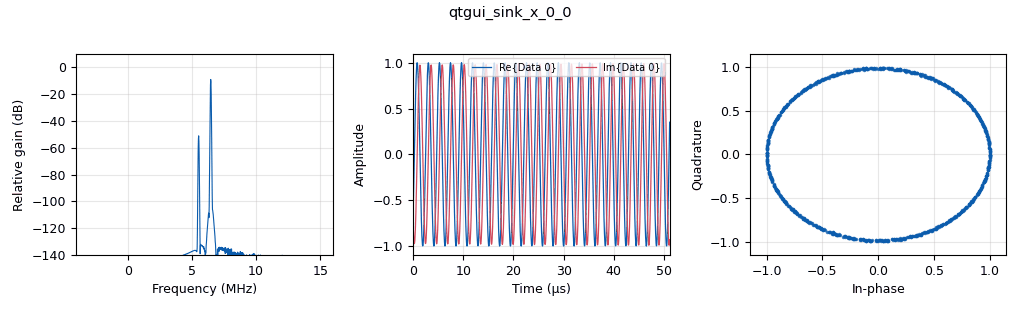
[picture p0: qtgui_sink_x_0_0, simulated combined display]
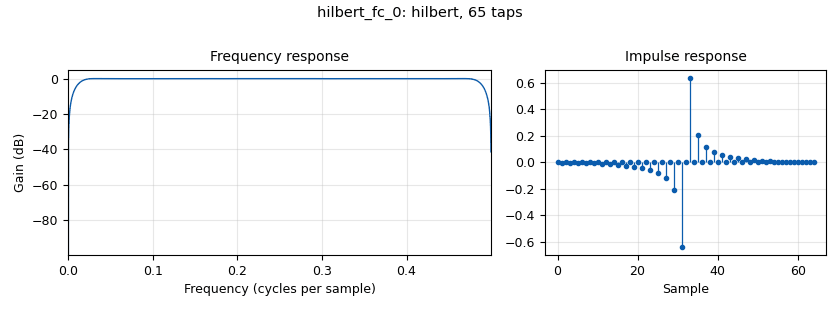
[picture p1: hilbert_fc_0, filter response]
options:
  parameters:
    category: Custom
    generate_options: qt_gui
    id: top_block
    output_language: python
  states: {}

blocks:
- name: Bandwith
  id: variable_qtgui_range
  parameters:
    orient: Qt.Horizontal
    start: 1e5
    step: '100000'
    stop: 20e6
    value: 1e5
    widget: slider
  states: {}
- name: Frequency
  id: variable_qtgui_range
  parameters:
    orient: Qt.Horizontal
    start: 433e6
    step: 1e6
    stop: 5000e6
    value: 5000e6
    widget: slider
  states: {}
- name: band
  id: variable
  parameters:
    value: '1000000'
  states: {}
- name: sample_rate
  id: variable
  parameters:
    value: int(20000000)
  states: {}
- name: analog_sig_source_x_0
  id: analog_sig_source_x
  parameters:
    amp: '1'
    freq: 1e3
    offset: '0'
    phase: '0'
    samp_rate: sample_rate
    type: float
    waveform: analog.GR_SAW_WAVE
  states: {}
- name: blocks_multiply_xx_0
  id: blocks_multiply_xx
  parameters:
    type: complex
  states: {}
- name: blocks_stream_to_vector_0
  id: blocks_stream_to_vector
  parameters:
    num_items: '100'
    type: complex
  states: {}
- name: blocks_udp_sink_0
  id: blocks_udp_sink
  parameters:
    eof: 'True'
    ipaddr: 192.168.1.64
    port: '5000'
    psize: '1024'
    type: complex
    vlen: '100'
  states: {}
- name: blocks_vco_f_0
  id: blocks_vco_f
  parameters:
    amplitude: '1'
    samp_rate: sample_rate
    sensitivity: 6.28e6
  states: {}
- name: hilbert_fc_0
  id: hilbert_fc
  parameters:
    num_taps: '65'
    win: firdes.WIN_HAMMING
  states: {}
- name: osmosdr_sink_0
  id: osmosdr_sink
  parameters:
    args: bladerf=0
    bb_gain0: '10'
    bw0: 20e6
    freq0: Frequency
    gain0: '20'
    if_gain0: '10'
    sample_rate: sample_rate
    sync: sync
    type: fc32
  states: {}
- name: osmosdr_source_0
  id: osmosdr_source
  parameters:
    args: bladerf=0
    bb_gain0: '20'
    bw0: 20e6
    freq0: Frequency
    gain0: '20'
    gain_mode0: 'True'
    if_gain0: '20'
    sample_rate: sample_rate
    sync: sync
    type: fc32
  states: {}
- name: qtgui_freq_sink_x_0
  id: qtgui_freq_sink_x
  parameters:
    bw: sample_rate
    fc: 6e6
    fftsize: '1024'
    type: complex
    wintype: firdes.WIN_BLACKMAN_hARRIS
  states: {}
- name: qtgui_sink_x_0
  id: qtgui_sink_x
  parameters:
    bw: sample_rate
    fc: 6e6
    fftsize: '1024'
    type: complex
    wintype: firdes.WIN_BLACKMAN_hARRIS
  states: {}
- name: qtgui_sink_x_0_0
  id: qtgui_sink_x
  parameters:
    bw: sample_rate
    fc: 6e6
    fftsize: '1024'
    type: complex
    wintype: firdes.WIN_BLACKMAN_hARRIS
  states: {}

connections:
- [analog_sig_source_x_0, '0', blocks_vco_f_0, '0']
- [blocks_multiply_xx_0, '0', blocks_stream_to_vector_0, '0']
- [blocks_multiply_xx_0, '0', qtgui_freq_sink_x_0, '0']
- [blocks_multiply_xx_0, '0', qtgui_sink_x_0, '0']
- [blocks_stream_to_vector_0, '0', blocks_udp_sink_0, '0']
- [blocks_vco_f_0, '0', hilbert_fc_0, '0']
- [hilbert_fc_0, '0', blocks_multiply_xx_0, '1']
- [hilbert_fc_0, '0', osmosdr_sink_0, '0']
- [hilbert_fc_0, '0', qtgui_sink_x_0_0, '0']
- [osmosdr_source_0, '0', blocks_multiply_xx_0, '0']

metadata:
  file_format: 1
